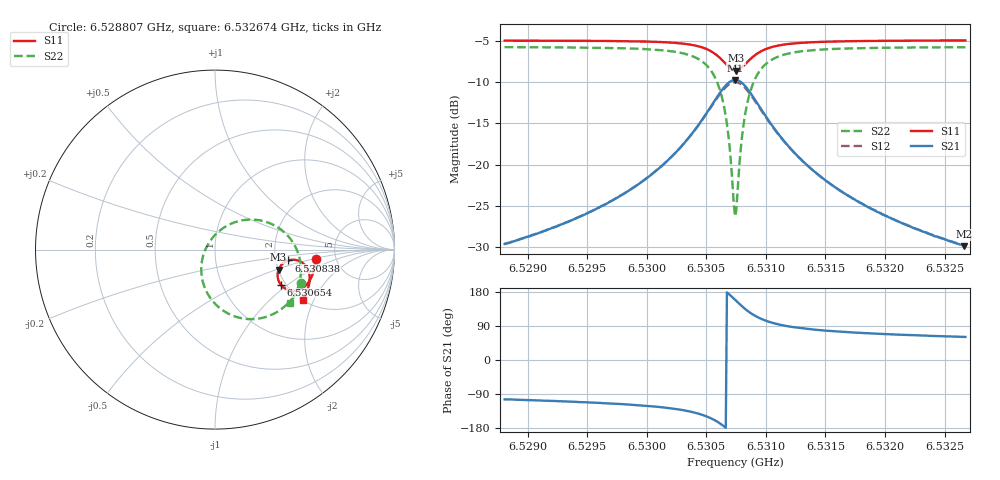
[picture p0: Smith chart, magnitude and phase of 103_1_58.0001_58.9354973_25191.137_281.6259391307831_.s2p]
#  HZ  S  RI  R  50.00
! Rohde & Schwarz Vector Network Analyzer
! Rohde-Schwarz,ZNB20-2Port,1311601062101988,3.16
! Created: UTC 3/21/2024, 12:54:53 AM
! freq[Hz]  re:S11  im:S11  re:S21  im:S21  re:S12  im:S12  re:S22  im:S22
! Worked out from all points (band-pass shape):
!   401 points, 6.528807 GHz to 6.532674 GHz, reference 50 ohm
!   highest |S21| = -9.73 dB at 6.530741 GHz (marker M1); lowest = -29.8 dB at 6.532665 GHz (marker M2)
!   |S21| within 3 dB of the highest: 6.530549 GHz to 6.530936 GHz (387.3 kHz wide, 0.00593 % of centre)
!   lowest |S11| = -8.6 dB at 6.530751 GHz (marker M3), VSWR 2.18, Z = 100 - j26 ohm
!   |S11| at or under -10 dB: nowhere
!   |S22| runs from -26.2 to -5.8 dB; largest |S21 - S12| = 0.013
!   S11 on the Smith chart (normalised r, x): 6.528807 GHz: 3.48, -0.56; 6.530654 GHz: 1.88, -0.88; 6.530838 GHz: 2.35, -0.34; 6.532674 GHz: 2.00, -1.66
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6.5288074e9  0.5607 -0.0551  -0.00792 -0.0322  -0.00851 -0.0321  0.4805 -0.1845
6.5294551e9  0.5512 -0.1104  -0.0177 -0.0459  -0.0188 -0.0454  0.4482 -0.2466
6.5298321e9  0.5397 -0.147  -0.0313 -0.0609  -0.0329 -0.0602  0.4122 -0.2934
6.5301028e9  0.5238 -0.178  -0.0531 -0.0789  -0.0556 -0.0773  0.3629 -0.3364
6.5303252e9  0.4964 -0.2086  -0.0952 -0.1  -0.0983 -0.0966  0.2777 -0.3769
6.5304895e9  0.4509 -0.2287  -0.1674 -0.1075  -0.17 -0.1002  0.1449 -0.3818
6.5305862e9  0.4035 -0.2233  -0.2412 -0.0802  -0.2403 -0.0696  0.0211 -0.3213
6.5306539e9  0.366 -0.1945  -0.2962 -0.0188  -0.2897 -0.00769  -0.0591 -0.2069
6.5306829e9  0.3542 -0.1732  -0.3109 0.0219  -0.3018 0.0317  -0.0754 -0.1366
6.5307215e9  0.3488 -0.1385  -0.313 0.0851  -0.3011 0.0912  -0.0657 -0.0326
6.5307409e9  0.3516 -0.1204  -0.3044 0.1169  -0.292 0.121  -0.0454 0.0178
6.5307505e9  0.3545 -0.1115  -0.2978 0.1322  -0.2855 0.135  -0.0317 0.0414
6.5307602e9  0.3582 -0.1033  -0.2897 0.1467  -0.2775 0.1485  -0.0158 0.0635
6.5307989e9  0.3804 -0.0759  -0.2462 0.1932  -0.236 0.1914  0.0639 0.1314
6.5308376e9  0.4089 -0.0606  -0.1949 0.2186  -0.1873 0.2149  0.1532 0.1634
6.5309052e9  0.4548 -0.0587  -0.1147 0.2218  -0.111 0.2181  0.2879 0.1533
6.5310019e9  0.4955 -0.0804  -0.0454 0.1897  -0.0436 0.1876  0.3999 0.083
6.5311469e9  0.5199 -0.1169  -0.00328 0.1407  -0.00194 0.1399  0.4621 -0.0168
6.5313886e9  0.5273 -0.161  0.0151 0.0922  0.0163 0.0918  0.4787 -0.1187
6.5320363e9  0.5125 -0.2318  0.018 0.0444  0.0188 0.0442  0.4521 -0.2379
6.5326647e9  0.4901 -0.2812  0.0155 0.0282  0.0163 0.028  0.4194 -0.297
6.5326744e9  0.4896 -0.2819  0.0157 0.0281  0.0164 0.0278  0.4189 -0.298
